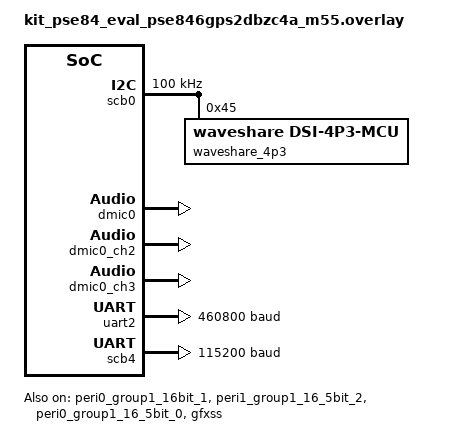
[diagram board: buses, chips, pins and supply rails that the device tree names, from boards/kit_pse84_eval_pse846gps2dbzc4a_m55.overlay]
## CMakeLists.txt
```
cmake_minimum_required(VERSION 3.20.0)

# Track C: register the out-of-tree libopus Zephyr module before
# find_package(Zephyr) so its Kconfig + CMakeLists are picked up.
list(APPEND ZEPHYR_EXTRA_MODULES
    "${CMAKE_CURRENT_SOURCE_DIR}/../modules/libopus")

find_package(Zephyr REQUIRED HINTS $ENV{ZEPHYR_BASE})
project(pse84_assistant)

target_sources(app PRIVATE
    src/main.c
    src/state.c
    src/framing.c
    src/opus_wrapper.c
    src/audio.c
    src/link.c
    src/ble.c
    src/gatt_svc.c
)
# log_tunnel.c depends on CONFIG_IPC_SERVICE. Skip it for the
# minimal-M33-companion bring-up test where IPC isn't wired.
if(CONFIG_IPC_SERVICE)
    target_sources(app PRIVATE src/log_tunnel.c)
endif()

# ui.c pulls in LVGL headers unconditionally; only compile it when
# CONFIG_LVGL=y. The QEMU M55 smoke-test build
# (boards/mps3_corstone300_an547 + prj_qemu_m55.conf) disables LVGL to
# stay inside the MPS3 board's displayless capability; main.c gates the
# UI hooks with #ifdef CONFIG_LVGL so the same state_* + framing +
# opus paths still exercise.
if(CONFIG_LVGL)
    target_sources(app PRIVATE src/ui.c)
endif()

# Phase 1b: sprite-sheet playback. Only pulled into the build when both
# LVGL and the SPRITES Kconfig are on. Assets are committed in-tree under
# assets/<state>/frames.c (+ frames.bin.inc #included from it); the
# per-state frames.c pulls its own byte blob via generate_inc_file_for_target
# so the concatenated LZ4 payload lands in .rodata on the target.
if(CONFIG_LVGL AND CONFIG_APP_ANIMATION_SPRITES)
    target_sources(app PRIVATE
        src/sprites.c
        third_party/lz4/lz4_decompress.c
        assets/idle/frames.c
        assets/listening/frames.c
        assets/thinking/frames.c
        assets/responding/frames.c
    )
    target_include_directories(app PRIVATE
        third_party/lz4
        assets/idle
        assets/listening
        assets/thinking
        assets/responding
    )
endif()

# Snapshot helper (native_sim only; see src/snapshot.h).
if(CONFIG_APP_SNAPSHOT)
    target_sources(app PRIVATE src/snapshot.c)
endif()

target_include_directories(app PRIVATE src)

# Track C: link the libopus INTERFACE target. No-op when CONFIG_OPUS=n.
target_link_libraries(app PRIVATE opus)
```

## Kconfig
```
# pse84_assistant app-level Kconfig.
#
# Only exposes knobs that are purely app-layer. Board / subsystem config
# goes in prj.conf / prj_*.conf.

menu "pse84_assistant app"

# Phase 1b: sprite-sheet playback vs. procedural animations.
#
# SPRITES reads LZ4-compressed RGB565 frames generated by
# tools/video_to_sprites.py from the real cartoon mp4 sources. It needs
# ~11 MiB of read-only asset storage (tier A, 800x480) or ~3 MiB
# (tier B, 400x240 + 2x zoom) plus a 768 KB RAM framebuffer.
#
# PROCEDURAL is the pre-Phase-1b LVGL widget animation path (orb /
# VU bars / spinner / typing label). It's kept because:
#   - native_sim has no 800x480 display and asset bytes inflate the
#     simulator image for no visual benefit,
#   - mps3/corstone300/an547 QEMU is displayless (CONFIG_LVGL=n).
#
# Default is SPRITES on the PSE84 kit, PROCEDURAL everywhere else.
config APP_ANIMATION_SPRITES
	bool "Phase 1b branded sprite animations"
	depends on LVGL
	default y if BOARD_KIT_PSE84_EVAL
	default n
	help
	  Enable LZ4-decoded RGB565 sprite-sheet playback for the four
	  assist states. Requires regenerated assets under
	  zephyr_workspace/pse84_assistant/assets/.

config APP_ANIMATION_SPRITES_TIER_B
	bool "Tier B (400x240 + 2x render zoom)"
	depends on APP_ANIMATION_SPRITES
	default n
	help
	  Signals the runtime to apply lv_image_set_scale(512) so the
	  smaller 400x240 frames fill an 800x480 panel. Flip this on
	  only if assets were regenerated with --force-tier B.

config APP_ANIMATION_PROCEDURAL
	bool "Procedural LVGL widget animations (fallback)"
	depends on LVGL
	default y if !APP_ANIMATION_SPRITES
	default n
	help
	  Keep the orb / bars / spinner / typing label animations (ui.c).
	  Exactly one of SPRITES / PROCEDURAL should be enabled at a time;
	  the default pair above matches that constraint.

config APP_AUDIO_EMIT_OPUS
	bool "Phase 3: emit Opus-encoded frames after PCM dump"
	depends on OPUS && AUDIO_DMIC
	default y
	help
	  When enabled, audio_capture_stop() additionally splits the captured
	  16 kHz mono s16 buffer into 20 ms (320-sample) frames, encodes each
	  through opus_wrap_encode_frame(), and emits a hex-framed
	  OPUS_BEGIN / per-frame (u16-LE length + opus bytes) / OPUS_END block
	  on the console UART immediately after the existing PCM dump. The
	  PCM_BEGIN/END payload is left untouched so existing host parsers
	  keep working — receive_pcm.py picks up the OPUS block opportunistically
	  and writes a second WAV from the decoded frames.

	  Disable to drop the encoder + decoder out of the firmware (saves
	  ~50 KB heap on the M55) for PCM-only debug builds.

config APP_SNAPSHOT
	bool "Enable LVGL → PPM snapshot capture"
	default n
	depends on LVGL && BOARD_NATIVE_SIM
	select LV_USE_SNAPSHOT
	help
	  When enabled, main() runs a snapshot-capture sequence instead of
	  the normal interactive loop: it cycles through all four assist
	  states, lets each animation settle for a few frames, writes a
	  binary PPM file of lv_screen_active() per state to /tmp/snapshots,
	  then calls nsi_exit(0). Intended to be driven from
	  tools/capture_snapshots.sh which post-processes the PPMs into
	  PNGs committed to the repo.

endmenu

source "Kconfig.zephyr"
```

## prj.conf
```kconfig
# PSE84 Voice Assistant — Phase 0a scaffold.
#
# Inherits the cartoon_test display pipeline (GFXSS + DSI + octal flash) and
# replaces the raw frame replay with LVGL + a gpio_keys button toggle.

# Core peripherals (unchanged from cartoon_test)
CONFIG_GPIO=y
CONFIG_SERIAL=y
CONFIG_CONSOLE=y
CONFIG_UART_CONSOLE=y
CONFIG_I2C=y
CONFIG_PINCTRL=y
CONFIG_SHELL=y
CONFIG_I2C_SHELL=y

# Display: GFXSS ships display_driver_api in-tree; no shim needed.
CONFIG_USE_INFINEON_GFXSS=y
CONFIG_DISPLAY=y
CONFIG_DISPLAY_LOG_LEVEL_INF=y

# Octal NOR flash (58 MB usable XIP aperture via extended boot policy) +
# HyperRAM PSRAM (16 MB at 0x64000000). Both verified working on kit_pse84_eval
# as of 2026-04-12 (see memory project_pse84_octal_enabled.md and
# project_pse84_psram.md). Must match enable_cm55.conf on the M33 companion.
CONFIG_INFINEON_SMIF_OCTAL=y
CONFIG_INFINEON_SMIF_PSRAM=y

# LVGL — Phase 1 widgets: label + procedural per-state animations
# (idle orb, listening bars via flex, thinking spinner/arc, responding label).
CONFIG_LVGL=y
# Branded fox sprites, regenerated 2026-04-16 from ~/Downloads/*.mp4
# at tier B (400x240) — tier A ran over the 40 MB budget (102 MB total
# across 4 states). Tier B fits in ~28 MB of m55_xip with 2x render
# zoom (APP_ANIMATION_SPRITES_TIER_B=y) to fill the 800x480 panel.
CONFIG_APP_ANIMATION_SPRITES=y
CONFIG_APP_ANIMATION_SPRITES_TIER_B=y
CONFIG_APP_ANIMATION_PROCEDURAL=n
# Synchronous log + polled UART — the interrupt-driven UART path
# storms on CM55 (Cy_SCB_GetTxInterruptStatusMasked loop) and
# starves LVGL animation thread.
CONFIG_LOG_MODE_IMMEDIATE=y
CONFIG_UART_INTERRUPT_DRIVEN=n

# IPC to M33 companion (Phase 4 audio/BT data path placeholder).
# M55 brings up its peer endpoint; M33 side is silent/minimal.
CONFIG_MBOX=y
CONFIG_IPC_SERVICE=y
CONFIG_IPC_SERVICE_BACKEND_ICMSG=y
CONFIG_LV_USE_LABEL=y
CONFIG_LV_USE_SPINNER=y
CONFIG_LV_USE_ARC=y
CONFIG_LV_USE_FLEX=y
CONFIG_LV_FONT_MONTSERRAT_28=y
CONFIG_LV_Z_MEM_POOL_SIZE=49152
CONFIG_LV_Z_VDB_SIZE=10
CONFIG_LV_COLOR_DEPTH_16=y
CONFIG_LV_USE_LOG=y

# Input subsystem — gpio_keys reports INPUT_KEY_0 events on sw0.
CONFIG_INPUT=y

# Logging + stack sizing — LVGL allocates generously during first draw.
CONFIG_LOG=y
CONFIG_MAIN_STACK_SIZE=16384
# sysworkq: default 1 KB was too small even without the hex dump
# (state transition + frame_encode scratch). 2 KB is the sweet
# spot now that the hex dump is skipped over BLE.
CONFIG_SYSTEM_WORKQUEUE_STACK_SIZE=2048

# Phase 2: PDM mic capture (mono 16 kHz 16-bit → ring buffer → UART hex dump).
# Driver: drivers/audio/dmic_infineon.c (compatible = infineon,pdm).
CONFIG_AUDIO=y
CONFIG_AUDIO_DMIC=y

# DMA backend the Infineon PDM driver pulls its RX blocks through.
CONFIG_DMA=y

# The hex-dump path uses printk() directly (log subsystem would drop
# bytes under sustained 64 KB bursts); keep the log backend on for
# diagnostics but don't rely on it for the payload. LOG_PRINTK=n forces
# printk() to write to the raw UART console instead of enqueuing into
# the log ring buffer — critical for the ~128 KB PCM hex dump.
CONFIG_PRINTK=y
CONFIG_LOG_PRINTK=n

# Dedicated audio thread needs its own stack (DMIC read buffer pointers
# only, so 2 KB is plenty).
# See src/audio.c — AUDIO_THREAD_STACK_SIZE.

# Phase 4 — BLE on M55. CYW55513 over uart4 (HCI H4) with infineon
# bt-hci-uart driver. M55 NS-side has clean access to SCB4 + GPIO11
# (no PERI0/PPC issue that blocks M33-Secure on uart4).
# Master plan: peripheral mode, L2CAP CoC dynamic channel for the
# bridge.py audio/text path.
CONFIG_BT=y
CONFIG_BT_PERIPHERAL=y
CONFIG_BT_DEVICE_NAME="PSE84-Assistant"
CONFIG_BT_SMP=y
CONFIG_BT_L2CAP_DYNAMIC_CHANNEL=y

# Opus codec — used by audio.c to compress PDM captures into 20 ms
# frames at 16 kbps CBR before streaming over BLE GATT.
#
# libopus internally calls malloc (~18 KB encoder state). Picolibc
# arena sized explicitly so allocations don't fail silently when
# DTCM is near-full.
#
# TODO: wire libopus through app_heap (SOCMEM) so these 24 KB
# don't come out of DTCM. Requires OVERRIDE_OPUS_ALLOC at compile
# time OR a linker-script relocation of the picolibc arena to
# SOCMEM. Attempted the symbol-override path but picolibc's own
# malloc took precedence and the board panicked at pre-kernel.
CONFIG_OPUS=y
# No second per-stop encoder — BLE streams Opus in-line via the audio
# thread now, and the per-stop OPUS hex dump path tried to instantiate
# a second encoder that failed libc-arena ALLOC every time (-7).
CONFIG_APP_AUDIO_EMIT_OPUS=n
CONFIG_HEAP_MEM_POOL_SIZE=512
CONFIG_COMMON_LIBC_MALLOC=y
# 32 KB arena: libopus fixed-point encoder ~15 KB + decoder ~5 KB +
# malloc bookkeeping/alignment overhead. 24 KB wasn't enough
# empirically (opus_encoder_create returned ALLOC_FAIL).
CONFIG_COMMON_LIBC_MALLOC_ARENA_SIZE=32768
CONFIG_BT_BUF_ACL_RX_SIZE=255
CONFIG_BT_BUF_ACL_TX_SIZE=251
# ATT MTU of 23 (default) only allows ~20-byte notify payloads; Opus
# frames at 16 kbps run 40-80 bytes. Bump to 247 (Apple-friendly cap)
# so a full Opus packet fits in one notification.
CONFIG_BT_L2CAP_TX_MTU=247
CONFIG_BT_BUF_EVT_RX_COUNT=10
CONFIG_BT_HCI_ACL_FLOW_CONTROL=n

# TEXT_CHUNK frames arrive on the BT RX WQ thread, which then calls
# gatt_svc_rx → ui_append_reply_text. LVGL text layout eats stack;
# the default 1200 B overflowed on the first TEXT_CHUNK of the reply.
# 4 KB is comfortable now that m55_data is 2 MB.
CONFIG_BT_RX_STACK_SIZE=4096

# Infineon AIROC connectivity chip (CYW55513).
CONFIG_BT_AIROC=y
CONFIG_CYW55500=y
CONFIG_CYW55513IUBG_SM=y

# WiFi (CYW55513 dual-mode) — DEFERRED.
#
# Trying CONFIG_WIFI=y + CONFIG_WIFI_AIROC=y overflows M55 DTCM by
# ~36 KB even with trimmed NET_PKT/BUF counts. The WHD (Wi-Fi Host
# Driver) uses substantial .bss/.noinit on top of the BT stack's
# allocations. Need to either:
# - Move WHD allocations to SOCMEM (link-script change)
# - Pull display assets out of DTCM if any leak there
# - Push BT to a smaller ACL flow-control config
# Not blocking v1 voice assistant (host bridge + BLE is enough).
# CONFIG_WIFI=y
# CONFIG_WIFI_AIROC=y
```

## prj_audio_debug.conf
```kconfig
# Audio-iteration debug build. Overlays prj.conf via EXTRA_CONF_FILE.
#
# Strips the 24 MiB of sprite assets out of the image so each flash-over-
# KitProg3 cycle takes ~5 s instead of ~5 min. Keeps procedural animations
# so the state machine still has visible feedback on the display.
#
# Use with:
#   west build -b kit_pse84_eval/pse846gps2dbzc4a/m55 --sysbuild \
#       -d build_hw -s zephyr_workspace/pse84_assistant \
#       -- -DEXTRA_CONF_FILE=prj_audio_debug.conf

CONFIG_APP_ANIMATION_SPRITES=n
CONFIG_APP_ANIMATION_PROCEDURAL=y

# Disable the Zephyr shell so src/link.c can own the console UART RX path
# (the host bridge writes TEXT_CHUNK / TEXT_END frames back over the same
# serial port that carries the PCM dump outbound). With CONFIG_SHELL=y
# the shell subsystem grabs every RX byte and our frame parser gets
# nothing.
CONFIG_SHELL=n
CONFIG_I2C_SHELL=n

# Required for src/link.c's uart_irq_callback_set path.
CONFIG_UART_INTERRUPT_DRIVEN=y

# Phase 0b.3/4: enable ipc_service + icmsg backend on top of our
# infineon,pse84-mbox driver. At this point there's no app-level
# endpoint registration — the subsystem just initialises and waits
# for a peer. That peer will be the M33 companion once 0b.5/0b.6
# unblock real M33 application logic.
CONFIG_MBOX=y
CONFIG_IPC_SERVICE=y
CONFIG_IPC_SERVICE_BACKEND_ICMSG=y

# Phase 0b.8: M33 owns uart2 console. M55 disables its own UART log
# backend and routes LOG_INF/WRN/ERR over the 'assistant' ipc_service
# endpoint. log_tunnel.c installs a custom LOG_BACKEND that ipc_sends
# every log line; the M33 main() prints received bytes to its printk.
# Direct printk() on M55 (audio.c hex dump) still hits uart2 — short
# windows of dual-owner contention are tolerable for that path.
# DIAG: re-enable UART log backend to bypass log_tunnel entirely while
# investigating audio_hb regression.
CONFIG_LOG_BACKEND_UART=y
CONFIG_LOG_OUTPUT=y
CONFIG_LOG_PRINTK=n

# Phase 4 — BLE host on M55 (CYW55513 via SCB4 HCI UART).
# DISABLED while restoring baseline.
CONFIG_BT=y
CONFIG_BT_LOG_LEVEL_INF=y
CONFIG_BT_HCI_DRIVER_LOG_LEVEL_INF=y
CONFIG_BT_DEVICE_NAME="PSE84-Assistant"
CONFIG_BT_PERIPHERAL=y
CONFIG_BT_L2CAP_DYNAMIC_CHANNEL=y
CONFIG_BT_BUF_ACL_RX_SIZE=255
CONFIG_BT_BUF_ACL_TX_SIZE=251
CONFIG_BT_L2CAP_TX_MTU=247
CONFIG_BT_HCI_ACL_FLOW_CONTROL=y
CONFIG_BT_BUF_EVT_DISCARDABLE_SIZE=255
# Bigger BT RX/host stacks — CYW55513 firmware-download path wants room.
CONFIG_BT_HCI_TX_STACK_SIZE=1024
CONFIG_BT_RX_STACK_SIZE=1024
CONFIG_BT_MAX_CONN=1
CONFIG_BT_MAX_PAIRED=1
CONFIG_BT_L2CAP_TX_BUF_COUNT=2
# Shrink more to cram inside M55's 132 KB RAM (audio ring is 64 KB).
CONFIG_LOG_BUFFER_SIZE=8192
CONFIG_BT_ATT_TX_COUNT=2
# Use Zephyr's H4 driver in hw-flow mode.
CONFIG_BT_HCI_RAW_H4=n
CONFIG_BT_LL_SW_SPLIT=n
# H4 driver wants interrupt-driven UART, not async.
# CONFIG_UART_INTERRUPT_DRIVEN is already y from Phase 0b8 above.
```

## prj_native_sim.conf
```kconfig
# native_sim build config for pse84_assistant.
#
# Keeps prj.conf pristine for the HW target. This config turns off all
# PSE84-specific peripherals (GFXSS, I2C, octal flash, shell) and picks up
# the in-tree SDL display + SDL-emulated GPIO so the LVGL + button toggle
# can be verified visually on macOS with:
#
#   west build -b native_sim -d build_native \
#     -s zephyr_workspace/pse84_assistant -- -DCONF_FILE=prj_native_sim.conf
#   ./build_native/zephyr/zephyr.exe

# Core
CONFIG_GPIO=y
CONFIG_SERIAL=y
CONFIG_CONSOLE=y
CONFIG_UART_CONSOLE=y

# Display (SDL)
CONFIG_DISPLAY=y
CONFIG_DISPLAY_LOG_LEVEL_INF=y

# LVGL — mirror prj.conf's UI-visible knobs so main.c renders identically.
# Phase 1 adds spinner / arc / flex for the per-state procedural animations.
CONFIG_LVGL=y
CONFIG_LV_USE_LABEL=y
CONFIG_LV_USE_SPINNER=y
CONFIG_LV_USE_ARC=y
CONFIG_LV_USE_FLEX=y
CONFIG_LV_FONT_MONTSERRAT_28=y
CONFIG_LV_Z_MEM_POOL_SIZE=49152
# native_sim SDL display runs RGBA8888; 32-bit matches without conversion.
CONFIG_LV_COLOR_DEPTH_32=y
CONFIG_LV_USE_LOG=y

# Input — gpio_keys → INPUT_KEY_0, same code path as HW.
CONFIG_INPUT=y

# Logging + stack sizing
CONFIG_LOG=y
CONFIG_MAIN_STACK_SIZE=16384
CONFIG_SDL_DISPLAY_USE_HARDWARE_ACCELERATOR=n
```

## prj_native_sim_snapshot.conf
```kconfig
# Snapshot-capture native_sim config.
#
# Extends prj_native_sim.conf: same display + LVGL + input stack, plus
# CONFIG_APP_SNAPSHOT=y (which implies CONFIG_LV_USE_SNAPSHOT=y). Run
# via tools/capture_snapshots.sh; the resulting binary exits itself via
# nsi_exit(0) once all four state PPMs have been written.
#
# This file intentionally re-declares the base prj_native_sim.conf
# contents rather than using a CONF_FILE list, because -DCONF_FILE=<one>
# is the simplest invocation inside the existing docker recipes.

# Core
CONFIG_GPIO=y
CONFIG_SERIAL=y
CONFIG_CONSOLE=y
CONFIG_UART_CONSOLE=y

# Display (SDL). SDL is still initialised so LVGL has a display driver
# attached, but the capture loop never pumps SDL events — we rely on
# timer-driven state_set() calls, not keyboard input.
CONFIG_DISPLAY=y
CONFIG_DISPLAY_LOG_LEVEL_INF=y

# LVGL
CONFIG_LVGL=y
CONFIG_LV_USE_LABEL=y
CONFIG_LV_USE_SPINNER=y
CONFIG_LV_USE_ARC=y
CONFIG_LV_USE_FLEX=y
CONFIG_LV_FONT_MONTSERRAT_28=y
CONFIG_LV_Z_MEM_POOL_SIZE=1048576
CONFIG_LV_COLOR_DEPTH_32=y
CONFIG_LV_USE_LOG=y

# Snapshot (PPM writer).
CONFIG_APP_SNAPSHOT=y
CONFIG_LV_USE_SNAPSHOT=y

# Input — still wired so the gpio_keys DT node compiles cleanly, but the
# snapshot loop doesn't press anything.
CONFIG_INPUT=y

# Logging + stack sizing. snapshot.c allocates a 3 KB row scratch buffer
# on the stack, plus lv_snapshot_take() can use some; keep main's stack
# generous.
CONFIG_LOG=y
CONFIG_MAIN_STACK_SIZE=32768
```

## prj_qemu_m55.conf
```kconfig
# QEMU Cortex-M55 smoke-test build for pse84_assistant.
#
# Target: mps3/corstone300/an547 (Arm MPS3 Corstone-300, AN547 image,
# Cortex-M55 with Armv8.1-M MVE-I/MVE-F/FPU + PMU). Runs under QEMU
# (`west build -t run`) so the state machine + framing + Opus code
# paths can be smoke-tested on a real M55 ISA without flashing HW.
#
# No display + no input on this QEMU model:
#   - CONFIG_LVGL=n  -> ui.c is excluded by CMakeLists (see app
#     CMakeLists.txt) and main.c compiles its headless branch.
#   - a k_timer in main.c cycles state_cycle() every 1 s, printing
#     transitions via LOG_INF to UART0 (QEMU -serial stdio).
#
# Build + run:
#   west build -b mps3/corstone300/an547 -d build_qemu_m55 \
#       -s zephyr_workspace/pse84_assistant -p always \
#       -- -DCONF_FILE=prj_qemu_m55.conf
#   west build -d build_qemu_m55 -t run
#
# Expected UART output (one second apart):
#   *** Booting Zephyr OS ...
#   === PSE84 Assistant (Phase 1) ===
#   headless mode: cycling state every 1000 ms
#   state: IDLE -> LISTENING
#   headless tick -> LISTENING
#   state: LISTENING -> THINKING
#   headless tick -> THINKING
#   ...

# --- Core kernel + logging ---
CONFIG_LOG=y
CONFIG_SERIAL=y
CONFIG_CONSOLE=y
CONFIG_UART_CONSOLE=y

# --- Exercise the codec path on the M55 toolchain ---
# Forces libopus sources to compile for Armv8.1-M with MVE enabled. This
# is the whole reason Track D exists — uncovers any MVE intrinsic / fixed
# point / stack-size regressions before they hit real HW.
CONFIG_OPUS=y

# libopus encoder/decoder structs are large; match tests/opus_roundtrip
# sizing so downstream k_malloc() calls in opus_wrapper succeed.
CONFIG_HEAP_MEM_POOL_SIZE=131072
CONFIG_MAIN_STACK_SIZE=16384

# --- Everything display / input / PSE84-specific OFF ---
# No GFXSS, no octal flash, no I2C panel bridge, no gpio_keys, no LVGL.
# The defaults handle this (all of the above are n by default on
# mps3/corstone300/an547) but state them explicitly to document intent.
CONFIG_LVGL=n
CONFIG_DISPLAY=n
CONFIG_INPUT=n
```

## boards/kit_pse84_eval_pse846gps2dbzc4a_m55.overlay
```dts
#include <zephyr/dt-bindings/display/panel.h>
#include <zephyr/dt-bindings/memory-attr/memory-attr-arm.h>
#include "../../zephyrproject/zephyr/boards/infineon/kit_pse84_eval/kit_pse84_eval_octal_64mb.overlay"

/*
 * kit_pse84_eval_octal_64mb overlay bumps flash0 reg to 64 MB so
 * openocd's smif1_ns bank covers the whole XIP aperture (previously
 * capped at 16 MB, silently dropping M55 hex bytes > 0x61000000 and
 * leaving the chip running a stale image). Keeps the 40 MB m55_xip
 * size this app needs for sprite assets + code.
 */
&m55_xip {
	reg = <0x60500000 DT_SIZE_M(40)>;
};

/*
 * Grow primary SRAM (m55_data → chosen zephyr,sram in kit_pse84_eval_m55.dts)
 * from the stock 256 KB to 2 MB — an 8x bump. The PSE84 has 5 MB of SOCMEM
 * at 0x26000000 (see pse84.dtsi socmem node); the board map only carves
 * out ~3.25 MB, leaving plenty of slack. This extends m55_data to consume
 * 0x26100000..0x26300000 contiguously, and shifts socmem_fb + socmem_audio
 * up the SOCMEM aperture accordingly (see reserved-memory overrides below).
 *
 * Motivation: LVGL pool + BT host buffers + libopus encoder (~15 KB) +
 * audio thread stack (needs ~8 KB for libopus encode call path) didn't
 * fit in the stock 256 KB — audio thread stack-overflowed mid-Opus-encode
 * once a BT peer connected. A wholesale 8x bump eliminates the need to
 * micro-manage individual buffer placements and leaves room to grow.
 */
&m55_data {
	reg = <0x26100000 DT_SIZE_M(2)>;
};

/*
 * socmem_fb lived at 0x26240000 in the base memory map; push it to
 * 0x26300000 so the newly-grown m55_data sits contiguously ahead of it.
 * The GFXSS driver references the framebuffer by DT phandle, not by
 * fixed address, so this relocation is transparent at runtime.
 */
&socmem_fb {
	reg = <0x26300000 DT_SIZE_K(1024)>;
};

/* I2C on SCB0 — used by the Waveshare 4.3" panel MCU at 0x45 */
&p8_0_scb0_i2c_scl {
	drive-open-drain;
	input-enable;
};

&p8_1_scb0_i2c_sda {
	drive-open-drain;
	input-enable;
};

&peri0_group1_16bit_1 {
	status = "okay";
	clock-div = <32>;
};

i2c0: &scb0 {
	compatible = "infineon,i2c";
	status = "okay";
	clock-frequency = <100000>;
	#address-cells = <1>;
	#size-cells = <0>;
	clocks = <&peri0_group1_16bit_1>;
	pinctrl-0 = <&p8_0_scb0_i2c_scl &p8_1_scb0_i2c_sda>;
	pinctrl-names = "default";

	waveshare_4p3: waveshare_4p3@45 {
		compatible = "waveshare,dsi-4p3-mcu";
		reg = <0x45>;
		/* default-brightness falls through to binding default (128 = 50%) */
		/* Panel MCU needs DSI link up before it responds on I2C;
		 * let the GFXSS driver trigger init via device_init() after
		 * its own Cy_GFXSS_Init and a stabilization delay.
		 */
		zephyr,deferred-init;
		status = "okay";
	};
};

/* GFXSS display controller — 800x480 Waveshare 4.3" panel.
 * Uses stride-pixels = 832 so RGB565 rows are 128-byte aligned for the
 * DC DMA; the panel's bridge chip crops the tail pixels. The framebuffer
 * lives in the board's socmem_fb SOCMEM region.
 *
 * NOTE: the actual gfxss node declaration is below, re-rooted under
 * &soc to work around the SoC dtsi placing it as a child of the PDM
 * controller (see the /delete-node/ &gfxss; block). The properties
 * here would previously extend the upstream node; Phase 2 moved them
 * into the re-declared node for a single source of truth.
 */

/ {
	chosen {
		zephyr,display = &gfxss;
	};

	/*
	 * Post-grow SOCMEM layout (5 MB total at 0x26000000, 1 MB leading
	 * slack at 0x26000000..0x26100000 left unclaimed — may be PPC-attributed
	 * elsewhere, not worth the risk to probe):
	 *
	 *   0x26100000..0x26300000  m55_data      2 MB  (primary SRAM, grown)
	 *   0x26300000..0x26400000  socmem_fb     1 MB  (LVGL framebuffer, moved)
	 *   0x26400000..0x26401000  ipc_rx        4 KB
	 *   0x26401000..0x26402000  ipc_tx        4 KB
	 *   0x26410000..0x26420000  socmem_audio  64 KB (PCM ring, moved)
	 *   0x26420000..0x26500000  unclaimed     ~896 KB future slack
	 *
	 * socmem_sprite is deleted — sprite playback is disabled
	 * (CONFIG_APP_ANIMATION_SPRITES=n) and the region was no longer
	 * needed for the ipc rings once m55_data absorbed that address space.
	 */
	reserved-memory {
		/* Phase 4: PCM ring in SOCMEM so the BT host has the primary
		 * SRAM. Relocated to 0x26410000 to clear room for the grown
		 * m55_data + shifted socmem_fb above. */
		socmem_audio: memory@26410000 {
			compatible = "zephyr,memory-region", "mmio-sram";
			reg = <0x26410000 DT_SIZE_K(64)>;
			zephyr,memory-region = "SOCMEM_AUDIO";
		};

		/* Phase 1b sprite scratch — LZ4 decompress target for one
		 * RGB565 frame. Sprites.c sizes its buffer check against
		 * tier-A max (800*480*2 = 750 KB), not the tier actually
		 * in use — so the region must be ≥ 750 KB even when running
		 * at tier B (192 KB/frame). Round up to 768 KB for alignment.
		 * Sits in the unclaimed SOCMEM tail after socmem_audio. */
		socmem_sprite: memory@26420000 {
			compatible = "zephyr,memory-region", "mmio-sram";
			reg = <0x26420000 DT_SIZE_K(768)>;
			zephyr,memory-region = "SOCMEM_SPRITE";
		};
	};
};

&gpio_prt20 {
	status = "okay";
};

&gpio_prt21 {
	status = "okay";
};

/*
 * Phase 2: PDM microphone capture (mono, 16 kHz, 16-bit).
 *
 * Mirrors the in-tree sample at
 * zephyr/samples/drivers/audio/dmic/boards/kit_pse84_eval_pse846gps2dbzc4a_m55.overlay —
 * PDM controller 1 (channels 2/3) on pdm3 (p8_5 clk / p8_6 data), clocked
 * from peri1_group1_16_5bit_2 via clk_hf7. We only enable channel 2 (left)
 * for mono; channel 3 stays disabled. `use-alt-io` on ch2 routes the
 * data line to the pdm3 alternate pin (p8_6) per ROUTE_CTL.
 */
&clk_hf7 {
	status = "okay";
	source-path = <IFX_CLK_HF_IN_CLKPATH3>;
};

&peri1_group1_16_5bit_2 {
	status = "okay";
	clock-div = <2>;
	div-frac-value = <7>;
};

&p8_5_pdm3_pdm_clk {
	drive-strength = "half";
	drive-push-pull;
};

&p8_6_pdm3_pdm_data {
	drive-strength = "half";
	input-enable;
};

&dma0 {
	status = "okay";
};

/*
 * The SoC dtsi places gfxss@44800000 as a child of pdm@44400000 (dmic0),
 * which is fine when dmic0 is disabled but the dmic_infineon driver
 * iterates DT_FOREACH_CHILD_STATUS_OKAY expecting every enabled child
 * to have a `channel` property — gfxss has none, so the build fails.
 *
 * Fix: delete gfxss from under dmic0 and re-declare it at the same
 * address under &soc directly. All references via DT_NODELABEL(gfxss)
 * keep resolving because the label survives the move.
 */
/delete-node/ &gfxss;

/ {
	soc {
		gfxss: gfxss@44800000 {
		compatible = "infineon,pse84-gfxss";
		reg = <0x44800000 0x10000>;
		status = "okay";
		width = <800>;
		height = <480>;
		stride-pixels = <832>;
		pixel-format = <PANEL_PIXEL_FORMAT_RGB_565>;
		framebuffer = <&socmem_fb>;
		num-lanes = <1>;
		per-lane-mbps = <810>;
		pixel-clock-khz = <33768>;
		hsync-width = <10>;
		hfp = <210>;
		hbp = <20>;
		vsync-width = <5>;
		vfp = <20>;
		vbp = <20>;
		};
	};
};

dmic_dev: &dmic0 {
	pinctrl-0 = <&p8_5_pdm3_pdm_clk &p8_6_pdm3_pdm_data>;
	pinctrl-names = "default";
	clocks = <&peri1_group1_16_5bit_2>;
	status = "okay";

	dmas = <&dma0 0>;
	dma-names = "rx";
};

&dmic0_ch2 {
	status = "okay";
	use-alt-io;
	/*
	 * fir0-enable MANDATORY at 16 kHz (DT binding note). fir1-scale
	 * default is 15 (right-shift 15 → signal divided by 32768). That
	 * aggressive attenuation was likely hiding real-but-faint mic
	 * signal under the filter noise floor on this kit. Dropping to
	 * 9 amplifies by 64x — enough to clear the floor for a low-SPL
	 * onboard MEMS mic.
	 */
	fir0-enable;
	fir1-scale = <0>;  /* max gain: no right-shift at all */
};

/*
 * Add 50 ms software debounce to sw0 — the kit's default gpio-keys
 * parent node in kit_pse84_eval_common.dtsi has no
 * `debounce-interval-ms`, so every physical press RELEASE generates a
 * burst of release/press edges. First press works because the initial
 * contact (press) is typically clean; when the user finally releases
 * after a 2 s hold, bounce fires multiple release→press→release cycles
 * rapidly. Each bounce-press starts a NEW 2 s capture which is then
 * ended by the next bounce-release, producing the 4-5 spurious ~100 ms
 * captures the user observed. debounce-interval-ms is a property of
 * the gpio_keys *parent* compatible, not individual children.
 */
/ {
	gpio_keys {
		debounce-interval-ms = <50>;
	};
};

/*
 * ch3 must be enabled too even though we only consume ch2 in mono.
 * The Infineon PDM engine configures ch2/ch3 as a stereo pair sharing
 * CLK+DATA; leaving ch3 disabled produces "silence with a click" —
 * a one-shot transient at capture start, then no sampling. Matches
 * upstream zephyr/samples/drivers/audio/dmic/boards/kit_pse84_eval*
 * which also enables both. req_num_chan=1 + PDM_CHAN_LEFT in audio.c
 * still routes only ch2 data to the ring buffer.
 */
&dmic0_ch3 {
	status = "okay";
};

/*
 * Phase 2: console UART baud for the 64 KB hex PCM dump path (2 s mono
 * 16-bit @ 16 kHz → 64 KB raw → ~128 KB as 2-char-per-byte hex + line
 * breaks). 460800 finishes the dump in ~3 s — fast enough, and proven
 * clean end-to-end on the KitProg3 CDC bridge. 921600 was attempted
 * first but showed ~45 % byte-level corruption during sustained bursts,
 * consistent with the CAT1 SCB UART driver accepting up to 10 % baud
 * drift (IFX_UART_MAX_BAUD_PERCENT_DIFFERENCE in uart_infineon_pdl.c)
 * plus KitProg3's own CDC quirks. If Phase 4 L2CAP throughput probes
 * need higher rates, tune peri0_group1_16bit_0 clock-div for an
 * integer divider at the target baud, or switch to an RTT backend.
 */
&uart2 {
	current-speed = <460800>;
};

/*
 * Phase 0b.2: instantiate the PSE84 mailbox driver (drivers/mbox/mbox_pse84.c)
 * for the M55 side of the Phase 0b IPC. Reuses CY_IPC_CHAN_USER + 1 for the
 * M55 doorbell receive side (M33 writes, M55 reads). NVIC line 46 =
 * m55appcpuss_interrupts_ipc_dpslp_0_IRQn per
 * zephyrproject/modules/hal/infineon/mtb-template-pse8xxgp/files/devices/
 * include/pse846gps2dbzc4a.h. Channel pair decision + intr-index mapping
 * documented in dts/bindings/mbox/infineon,pse84-mbox.yaml.
 *
 * No runtime wiring yet — no ipc_service client consumes this mbox.
 * Driver just init-probes at boot so we can see it come up cleanly
 * before Phase 0b.3 lands the M33 app + Phase 0b.4 wires ipc_service.
 */
/ {
	soc {
		pse84_mbox: mbox@441d0000 {
			compatible = "infineon,pse84-mbox";
			reg = <0x441d0000 0x1000>;
			interrupts = <46 3>;
			channels-used = <9 10>;   /* CY_IPC_CHAN_USER + {0,1} */
			intr-index = <0>;
			#mbox-cells = <1>;
			status = "okay";
		};
	};

	/*
	 * Phase 0b.3/4: ipc_service icmsg endpoint using the shared-memory
	 * regions pinned in docs/ipc_design.md — 4 KiB each at 0x240fe000
	 * (M33 -> M55, RX from our perspective) and 0x240ff000 (M55 -> M33,
	 * TX). mboxes reference the two channels listed in pse84_mbox's
	 * channels-used array (cell 0 = CY_IPC_CHAN_USER for signal/notify
	 * toward M33, cell 1 = CY_IPC_CHAN_USER+1 for receive-from-M33).
	 * At boot the subsystem initialises and waits for the peer; M33 app
	 * image lands in Phase 0b.5+.
	 */
	reserved-memory {
		#address-cells = <1>;
		#size-cells = <1>;

		/* ICMSG shared rings at the top of the SOCMEM-fb block.
		 * Marked non-cacheable so both cores see handshake magic
		 * writes without explicit cache ops. Without this, M55
		 * (D-cache on) writes sit in its cache and M33 reads
		 * stale zeros → icmsg bind never completes. (Tier-1 bug
		 * B15 in the embedded review.) */
		ipc_rx: memory@26400000 {
			reg = <0x26400000 0x1000>;
			zephyr,memory-attr = <( DT_MEM_ARM_MPU_RAM_NOCACHE )>;
		};
		ipc_tx: memory@26401000 {
			reg = <0x26401000 0x1000>;
			zephyr,memory-attr = <( DT_MEM_ARM_MPU_RAM_NOCACHE )>;
		};
	};

	/* `ipc0` label is reserved by the PSE84 SoC DTSI for the IPC0
	 * peripheral; our ipc_service endpoint uses a distinct label
	 * (assistant_ipc0) to avoid the collision.
	 */
	ipc {
		assistant_ipc0: assistant_ipc0 {
			compatible = "zephyr,ipc-icmsg";
			tx-region = <&ipc_tx>;
			rx-region = <&ipc_rx>;
			mboxes = <&pse84_mbox 1>, <&pse84_mbox 0>;
			mbox-names = "rx", "tx";
			status = "okay";
		};
	};
};

/*
 * Phase 4 — BLE HCI UART to onboard CYW55513 AIROC via SCB4.
 * Mirrors kit_pse84_ai_m55.dts (M55-primary sibling kit, same radio).
 */
&peri0_group1_16_5bit_0 {
	status = "okay";
	clock-div = <1>;
};

&gpio_prt11 {
	status = "okay";
};

&gpio_prt10 {
	status = "okay";
};

uart4: &scb4 {
	compatible = "infineon,uart";
	status = "okay";
	current-speed = <115200>;
	clocks = <&peri0_group1_16_5bit_0>;
	pinctrl-0 = <&p10_1_scb4_uart_tx &p10_0_scb4_uart_rx
		     &p10_3_scb4_uart_rts &p10_2_scb4_uart_cts>;
	pinctrl-names = "default";
	hw-flow-control;

	bt_hci_uart: bt_hci_uart {
		compatible = "zephyr,bt-hci-uart";

		cyw55513 {
			status = "okay";
			compatible = "infineon,bt-hci-uart";
			bt-reg-on-gpios = <&gpio_prt11 0 GPIO_ACTIVE_HIGH>;
			fw-download-speed = <115200>;
			hci-operation-speed = <115200>;
		};
	};
};

&p10_1_scb4_uart_tx { drive-push-pull; };
&p10_0_scb4_uart_rx { input-enable; };
&p10_3_scb4_uart_rts { drive-push-pull; };
&p10_2_scb4_uart_cts { input-enable; };

/ {
	chosen {
		zephyr,bt-hci = &bt_hci_uart;
	};
};
```

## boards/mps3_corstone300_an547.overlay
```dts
/*
 * mps3/corstone300/an547 overlay for pse84_assistant — QEMU Cortex-M55
 * smoke-test build.
 *
 * Intentionally empty: the upstream board DTS already provides uart0 as
 * zephyr,console, NVIC, systick, and the MPS3 memory map (ITCM flash /
 * DTCM SRAM). We deliberately do NOT declare a zephyr,display or
 * gpio-keys node here — the QEMU model has no panel or buttons, and
 * the headless build path in src/main.c (CONFIG_LVGL=n) drives state
 * transitions from a k_timer instead.
 *
 * If the upstream board ever starts auto-enabling a display controller
 * we do not want, suppress it here with `status = "disabled"`.
 */
```

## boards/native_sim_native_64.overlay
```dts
/*
 * native_sim overlay for pse84_assistant — off-hardware dev build.
 *
 * Wires the host SDL display + a single SDL-emulated GPIO key so the same
 * INPUT_KEY_0 path used on real HW (gpio_keys → input subsystem) lights up
 * here. Press SPACE in the SDL window to toggle the label.
 *
 * Intentionally minimal: display comes from the in-tree native_sim SDL
 * display driver; no DSI / GFXSS / I2C panel bridge is modelled here.
 */

#include <zephyr/dt-bindings/input/input-event-codes.h>

/ {
	chosen {
		zephyr,display = &sdl_dc;
	};

	keys: keys {
		compatible = "gpio-keys";

		button0: button0 {
			/* SDL-emul pin 1 on gpio0. Pin 0 is LED on the canonical
			 * native_sim overlay; keep pin 1 to avoid scancode=0.
			 */
			gpios = <&gpio0 1 GPIO_ACTIVE_HIGH>;
			zephyr,code = <INPUT_KEY_0>;
		};
	};

	aliases {
		sw0 = &button0;
	};
};

&gpio0 {
	ngpios = <2>;

	sdl_gpio {
		status = "okay";
		compatible = "zephyr,gpio-emul-sdl";
		/* pin 0 unused (scancode 0), pin 1 = SDL SCANCODE_SPACE (44) */
		scancodes = <0 44>;
	};
};
```

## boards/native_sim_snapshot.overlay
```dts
/*
 * native_sim overlay for pse84_assistant snapshot capture.
 *
 * Differs from native_sim.overlay only in the chosen display: instead
 * of SDL (which needs an X11 / Wayland / Metal host to open a window,
 * and whose `dummy` video driver refuses to allocate a renderer), use
 * the in-tree `zephyr,dummy-dc` display. lv_snapshot_take() renders
 * the object tree into its own draw buffer, so the display driver's
 * framebuffer is never actually read — dummy-dc is enough to satisfy
 * the Zephyr LVGL integration's DEVICE_DT_GET(zephyr,display) probe.
 *
 * The input / gpio_keys path is dropped because the snapshot loop
 * drives state_set() from a timer, never from the input subsystem.
 */

/ {
	chosen {
		zephyr,display = &dummy_dc;
	};

	dummy_dc: dummy_dc {
		compatible = "zephyr,dummy-dc";
		height = <240>;
		width = <320>;
	};
};

/* Disable the default native_sim SDL display + touch so the LVGL
 * display probe binds to dummy_dc above, and the Zephyr build doesn't
 * try to link SDL_CreateRenderer (which fails under SDL_VIDEODRIVER=dummy).
 */
&sdl_dc {
	status = "disabled";
};

&input_sdl_touch {
	status = "disabled";
};
```

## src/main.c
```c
/*
 * PSE84 Voice Assistant — app main.
 *
 * Wires the three pieces together and stays out of their way:
 *   - state.c: IDLE / LISTENING / THINKING / RESPONDING state machine.
 *   - ui.c: LVGL scene with a procedural animation per state.
 *   - gpio_keys INPUT_KEY_0 (HW sw0, SDL SCANCODE_SPACE on native_sim)
 *     drives state_cycle() on each press edge.
 *
 * Two build flavours share this file:
 *   - CONFIG_LVGL=y (HW, native_sim): full LVGL + display + gpio_keys
 *     input path.
 *   - CONFIG_LVGL=n (mps3/corstone300/an547 QEMU smoke test): headless
 *     build; a k_timer periodically drives state_cycle() so the state
 *     machine + Opus/framing code paths still execute on a real
 *     Cortex-M55 runtime without any display or input hardware.
 *
 * Everything board-specific lives in the overlays + prj_*.conf files.
 */

#include <zephyr/kernel.h>
#include <zephyr/logging/log.h>

#if defined(CONFIG_IPC_SERVICE)
#include <zephyr/device.h>
#include <zephyr/ipc/ipc_service.h>
#endif

#include "state.h"

#ifdef CONFIG_AUDIO_DMIC
#include "audio.h"
#endif

#include "link.h"
#include "log_tunnel.h"
#include "ble.h"

#ifdef CONFIG_LVGL
#include <zephyr/device.h>
#include <zephyr/drivers/display.h>
#include <zephyr/input/input.h>
#include <zephyr/dt-bindings/input/input-event-codes.h>

#include <lvgl.h>

#include "ui.h"
#endif /* CONFIG_LVGL */

#ifdef CONFIG_APP_SNAPSHOT
#include <nsi_main.h>

#include "snapshot.h"
#endif

LOG_MODULE_REGISTER(pse84_assistant, LOG_LEVEL_INF);

#ifdef CONFIG_LVGL

#ifdef CONFIG_AUDIO_DMIC
/* Auto-stop timer: enforces the 2 s capture cap if the user holds the
 * button longer. Runs from ISR context; defers the actual stop to the
 * system workqueue so audio_capture_stop() (which does a bulk printk
 * hex dump) executes in a thread.
 */
static void audio_autostop_work_handler(struct k_work *work)
{
	ARG_UNUSED(work);
	if (audio_is_capturing()) {
		LOG_INF("audio cap at %d ms — auto-stopping", AUDIO_MAX_DURATION_MS);
		(void)audio_capture_stop();
	}
}

static K_WORK_DEFINE(audio_autostop_work, audio_autostop_work_handler);

static void audio_autostop_timer_cb(struct k_timer *t)
{
	ARG_UNUSED(t);
	k_work_submit(&audio_autostop_work);
}

static K_TIMER_DEFINE(audio_autostop_timer, audio_autostop_timer_cb, NULL);

/* Same deferred pattern for the stop-on-release path, because the input
 * callback runs in the input subsystem's thread and audio_capture_stop()
 * does a 60 KB printk dump we don't want to block that thread on.
 */
static void audio_stop_work_handler(struct k_work *work)
{
	ARG_UNUSED(work);
	k_timer_stop(&audio_autostop_timer);
	(void)audio_capture_stop();
}

static K_WORK_DEFINE(audio_stop_work, audio_stop_work_handler);
#endif /* CONFIG_AUDIO_DMIC */

static void button_input_cb(struct input_event *evt, void *user_data)
{
	ARG_UNUSED(user_data);

	if (evt->type != INPUT_EV_KEY || evt->code != INPUT_KEY_0) {
		return;
	}
	/* evt->value: 1 = pressed, 0 = released.
	 *
	 * Press edge: cycle the visual state machine AND (if audio is
	 * compiled in) arm a PDM capture. The state machine keeps its
	 * existing Phase 1 round-robin — audio capture is independent
	 * per Phase 2 scope.
	 *
	 * Release edge: stop + dump the capture.
	 */
	if (evt->value == 1) {
		/* Press -> LISTENING: show the thinking-pose animation while
		 * we capture, arm the 2 s auto-stop safety timer. The state
		 * machine no longer auto-cycles through states — transitions
		 * are driven by real events: press/release and incoming
		 * TEXT_CHUNK/TEXT_END frames from the host bridge.
		 *
		 * Entry side-effect: wipe any reply text from the previous
		 * query so the next RESPONDING starts fresh.
		 */
		ui_clear_reply_text();
		link_cancel_idle_revert();
		state_set(ASSIST_LISTENING);
		LOG_INF("button press -> LISTENING");
#ifdef CONFIG_AUDIO_DMIC
		if (audio_capture_start() == 0) {
			k_timer_start(&audio_autostop_timer,
				      K_MSEC(AUDIO_MAX_DURATION_MS), K_NO_WAIT);
		}
#endif
	} else if (evt->value == 0) {
		LOG_INF("button release (capturing=%d)",
			(int)
#ifdef CONFIG_AUDIO_DMIC
			audio_is_capturing()
#else
			0
#endif
			);
#ifdef CONFIG_AUDIO_DMIC
		if (audio_is_capturing()) {
			k_work_submit(&audio_stop_work);
		}
#endif
		/* Release -> THINKING: audio capture just ended, host is
		 * about to transcribe + query the LLM. Stay here until the
		 * first TEXT_CHUNK arrives (link.c kicks us to RESPONDING)
		 * or the user presses again (back to LISTENING).
		 */
		if (state_get() == ASSIST_LISTENING) {
			state_set(ASSIST_THINKING);
		}
	}
}
INPUT_CALLBACK_DEFINE(NULL, button_input_cb, NULL);
#else  /* !CONFIG_LVGL — headless QEMU smoke test */

/* 1 s is slow enough to be readable on the QEMU UART and fast enough
 * that `west build -t run` sees all four states inside a short run.
 */
#define HEADLESS_CYCLE_PERIOD_MS 1000

static void headless_cycle_work_handler(struct k_work *work)
{
	ARG_UNUSED(work);
	const assist_state_t next = state_cycle();

	LOG_INF("headless tick -> %s", state_name(next));
}

static K_WORK_DEFINE(headless_cycle_work, headless_cycle_work_handler);

static void headless_cycle_timer_cb(struct k_timer *t)
{
	ARG_UNUSED(t);
	/* k_timer callbacks run in ISR context; state transitions touch
	 * LOG_INF which wants a thread context. Defer to the system
	 * workqueue.
	 */
	k_work_submit(&headless_cycle_work);
}

static K_TIMER_DEFINE(headless_cycle_timer, headless_cycle_timer_cb, NULL);
#endif /* CONFIG_LVGL */

int main(void)
{
	LOG_INF("=== PSE84 Assistant (Phase 1) ===");

	state_init();

#ifdef CONFIG_LVGL
	const struct device *display;
	int ret;

	display = DEVICE_DT_GET(DT_CHOSEN(zephyr_display));
	if (!device_is_ready(display)) {
		LOG_ERR("display device not ready");
		return -ENODEV;
	}

	ui_init();

#ifdef CONFIG_AUDIO_DMIC
	if (audio_init() != 0) {
		LOG_ERR("audio_init failed; PDM capture disabled");
	}
#endif

	if (link_init() != 0) {
		LOG_ERR("link_init failed; host text replies won't render");
	}

#if defined(CONFIG_IPC_SERVICE)
	/* Phase 0b.7: prove ipc_service + mbox stack opens cleanly on M55.
	 * Endpoint "assistant" is register-only — there's no M33 peer yet,
	 * so .bound never fires and .received is wired but idle. Once the
	 * M33 peer image lands, this same hook set will carry real traffic.
	 */
	{
		const struct device *ipc_dev =
			DEVICE_DT_GET(DT_NODELABEL(assistant_ipc0));
		static struct ipc_ept ipc_ep;
		extern void log_tunnel_on_bound(void *priv);
		static const struct ipc_ept_cfg ipc_cfg = {
			.name = "assistant",
			.cb = {
				.bound = log_tunnel_on_bound,
				.received = NULL,
			},
			.priv = NULL,
		};

		if (!device_is_ready(ipc_dev)) {
			LOG_WRN("ipc_service: assistant_ipc0 not ready");
		} else if (ipc_service_open_instance(ipc_dev) < 0) {
			LOG_WRN("ipc_service_open_instance failed");
		} else if (ipc_service_register_endpoint(ipc_dev, &ipc_ep,
							 &ipc_cfg) < 0) {
			LOG_WRN("ipc_service_register_endpoint failed");
		} else {
			LOG_INF("ipc_service: 'assistant' endpoint registered "
				"(peer: M33 — awaiting handshake)");
			log_tunnel_attach_endpoint(&ipc_ep);
		}
	}
#endif

	if (ble_init() != 0) {
		LOG_ERR("ble_init failed; Phase 4 BLE disabled");
	}

	/* First flush before unblanking to avoid a frame of garbage. */
	ui_tick();
	ret = display_blanking_off(display);
	if (ret < 0 && ret != -ENOSYS) {
		LOG_ERR("display_blanking_off failed: %d", ret);
		return ret;
	}

#if defined(CONFIG_BT) && defined(CONFIG_AUDIO_DMIC)
	/* DMIC kickoff is done from a dedicated thread so the LVGL
	 * render loop below can start immediately. Without this, a
	 * blocking ble_wait_ready in main would freeze the display on
	 * its first frame until BT firmware download finished (or
	 * forever if BT hangs in the uart4 IRQ storm). */
	extern void audio_kickoff_thread_start(void);
	audio_kickoff_thread_start();
#endif

#ifdef CONFIG_APP_SNAPSHOT
	/* Snapshot capture path: force each of the four states in turn,
	 * pump LVGL for long enough that the per-state animations have
	 * moved off their "frame 0" poses (LISTENING bars and IDLE orb
	 * ease in/out over ~1 s), write a PPM per state, then exit.
	 *
	 * Timing: 1500 ms of ui_tick() at 10 ms/tick = 150 anim steps. That
	 * places the IDLE orb and LISTENING bars well inside their first
	 * cycle and gives the RESPONDING typing label ~18 characters in
	 * (enough to clearly show the typing effect + cursor).
	 */
	static const struct {
		assist_state_t state;
		const char *path;
	} shots[] = {
		{ASSIST_IDLE,       "/tmp/snapshots/pse84_assistant_01_idle.ppm"},
		{ASSIST_LISTENING,  "/tmp/snapshots/pse84_assistant_02_listening.ppm"},
		{ASSIST_THINKING,   "/tmp/snapshots/pse84_assistant_03_thinking.ppm"},
		{ASSIST_RESPONDING, "/tmp/snapshots/pse84_assistant_04_responding.ppm"},
	};

	for (size_t i = 0; i < ARRAY_SIZE(shots); i++) {
		(void)state_set(shots[i].state);

		for (int t = 0; t < 150; t++) {
			ui_tick();
			k_sleep(K_MSEC(10));
		}

		const int rc = app_snapshot_save_ppm(shots[i].path);

		if (rc != 0) {
			LOG_ERR("snapshot save failed for %s: %d",
				state_name(shots[i].state), rc);
			nsi_exit(1);
		}
	}
	LOG_INF("snapshot capture complete, exiting");
	nsi_exit(0);
#endif /* CONFIG_APP_SNAPSHOT */

	while (1) {
		ui_tick();
		k_sleep(K_MSEC(10));
	}
#else  /* !CONFIG_LVGL */
	LOG_INF("headless mode: cycling state every %d ms", HEADLESS_CYCLE_PERIOD_MS);
	k_timer_start(&headless_cycle_timer, K_MSEC(HEADLESS_CYCLE_PERIOD_MS),
		      K_MSEC(HEADLESS_CYCLE_PERIOD_MS));

	while (1) {
		k_sleep(K_SECONDS(1));
	}
#endif /* CONFIG_LVGL */

	return 0;
}
```

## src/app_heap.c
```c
/*
 * PSE84 Voice Assistant — 256 KB heap in SOCMEM.
 *
 * Overrides the standard malloc/free/calloc/realloc symbols so
 * every dynamic allocation (including libopus's internal encoder
 * state, which calls malloc via picolibc) lands in SOCMEM instead
 * of eating scarce DTCM.
 *
 * CONFIG_COMMON_LIBC_MALLOC must be disabled so picolibc's own
 * malloc impl doesn't take precedence. k_calloc (used by
 * opus_wrapper.c) still uses Zephyr's CONFIG_HEAP_MEM_POOL_SIZE —
 * that stays small (~1 KB, enough for the tiny ctx struct).
 */
#include <zephyr/kernel.h>
#include <zephyr/sys/util.h>
#include <string.h>
#include <stdlib.h>

#define HEAP_BYTES DT_REG_SIZE(DT_NODELABEL(socmem_heap))

static uint8_t heap_buf[HEAP_BYTES]
	Z_GENERIC_SECTION(SOCMEM_HEAP) __aligned(8);

static struct k_heap app_heap;

static int app_heap_init(void)
{
	k_heap_init(&app_heap, heap_buf, sizeof(heap_buf));
	return 0;
}
SYS_INIT(app_heap_init, PRE_KERNEL_1, 0);

/* ---- libc malloc overrides --------------------------------------- */

void *malloc(size_t size)
{
	return k_heap_alloc(&app_heap, size, K_NO_WAIT);
}

void free(void *ptr)
{
	if (ptr) {
		k_heap_free(&app_heap, ptr);
	}
}

void *calloc(size_t nmemb, size_t size)
{
	size_t total = nmemb * size;
	void *p = k_heap_alloc(&app_heap, total, K_NO_WAIT);
	if (p) {
		memset(p, 0, total);
	}
	return p;
}

void *realloc(void *ptr, size_t size)
{
	/* k_heap doesn't have a native realloc. Fall back to
	 * alloc-new + copy-old + free-old. Libopus doesn't realloc
	 * in hot paths so this is fine. */
	if (ptr == NULL) {
		return k_heap_alloc(&app_heap, size, K_NO_WAIT);
	}
	if (size == 0) {
		k_heap_free(&app_heap, ptr);
		return NULL;
	}
	void *np = k_heap_alloc(&app_heap, size, K_NO_WAIT);
	if (np) {
		/* We don't know the old allocation size; libopus's
		 * realloc calls pass the old size externally (it's in
		 * the opus state). Copy up to the new size and rely on
		 * caller to not read past old_size. Any issue will show
		 * up as a corrupted codec output, not a crash. */
		memcpy(np, ptr, size);
	}
	k_heap_free(&app_heap, ptr);
	return np;
}
```

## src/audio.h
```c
/*
 * PSE84 Voice Assistant — Phase 2 PDM audio capture.
 *
 * Thin wrapper around the Zephyr DMIC API (drivers/audio/dmic_infineon.c)
 * that exposes a button-hold capture model:
 *
 *   audio_init()            — probe DMIC device, configure 16 kHz mono s16,
 *                             spawn the dedicated capture thread.
 *   audio_capture_start()   — begin filling a 2 s ring buffer.
 *   audio_capture_stop()    — stop + emit a BEGIN/END-framed hex dump of
 *                             the captured samples over the console UART.
 *
 * Everything is compiled out when CONFIG_AUDIO_DMIC is not set, so the
 * native_sim and QEMU M55 smoke-test builds stay lean.
 */

#ifndef PSE84_ASSISTANT_AUDIO_H_
#define PSE84_ASSISTANT_AUDIO_H_

#include <stdbool.h>
#include <stddef.h>
#include <stdint.h>

#ifdef __cplusplus
extern "C" {
#endif

/* Capture parameters (hard-coded per Phase 2 scope lock). */
#define AUDIO_SAMPLE_RATE_HZ   16000
#define AUDIO_CHANNELS         1
#define AUDIO_BITS_PER_SAMPLE  16
#define AUDIO_MAX_DURATION_MS  2000
#define AUDIO_MIN_DURATION_MS  100

/* Derived: one second of mono s16 @ 16 kHz = 32 KB, two seconds = 64 KB. */
#define AUDIO_BYTES_PER_MS \
	((AUDIO_SAMPLE_RATE_HZ / 1000) * AUDIO_CHANNELS * (AUDIO_BITS_PER_SAMPLE / 8))
#define AUDIO_RING_BYTES (AUDIO_BYTES_PER_MS * AUDIO_MAX_DURATION_MS)

/* Driver block sizing — 100 ms per block matches the upstream sample and
 * gives us 20 blocks covering the 2 s cap with a single dmic_read() per
 * 100 ms of wall-clock.
 */
#define AUDIO_BLOCK_DURATION_MS 100
#define AUDIO_BLOCK_BYTES       (AUDIO_BYTES_PER_MS * AUDIO_BLOCK_DURATION_MS)

/* Initialise the DMIC device and configure it for 16 kHz mono s16.
 * Spawns the capture worker thread but DOES NOT trigger the DMIC
 * hardware — call audio_dmic_kickoff() after bt_enable has finished
 * its firmware download spike (see src/ble.c:ble_wait_ready). Kicking
 * the PDM DMA while uart4 is saturated with HCI firmware bytes
 * starves the DMA completion IRQ and the PDM HW FIFO overflows.
 * Idempotent. Returns 0 on success, negative errno on failure.
 */
int audio_init(void);

/* Start the PDM hardware + DMA. Safe to call multiple times (becomes
 * a no-op once started). Call after audio_init AND after the BT
 * firmware download has completed — see src/ble.h for ble_wait_ready.
 * Returns 0 on success, negative errno on failure.
 */
int audio_dmic_kickoff(void);

/* Begin capture. Clears the ring buffer and arms the DMIC controller.
 * Safe to call while already capturing (becomes a no-op).
 * Returns 0 on success, negative errno on failure.
 */
int audio_capture_start(void);

/* Stop capture and emit a PCM_BEGIN / hex-payload / PCM_END frame over
 * the console UART. If the capture was shorter than AUDIO_MIN_DURATION_MS
 * it is padded with silence; if longer than AUDIO_MAX_DURATION_MS only
 * the trailing AUDIO_MAX_DURATION_MS are emitted. Computes + logs the
 * peak and RMS for quick level checks.
 * Returns 0 on success, negative errno on failure.
 */
int audio_capture_stop(void);

/* True while a capture is in progress. */
bool audio_is_capturing(void);

#ifdef __cplusplus
}
#endif

#endif /* PSE84_ASSISTANT_AUDIO_H_ */
```
